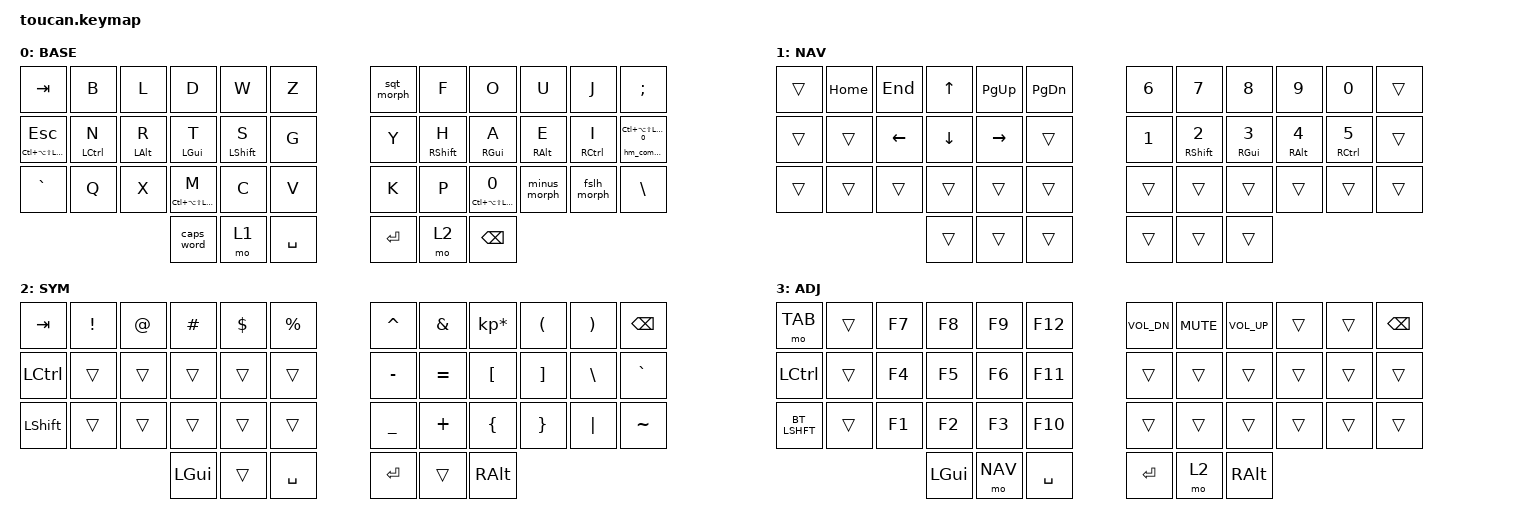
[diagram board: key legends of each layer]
#include <behaviors.dtsi>
#include <dt-bindings/zmk/keys.h>
#include <dt-bindings/zmk/bt.h>
#include <dt-bindings/zmk/outputs.h>

#define BASE 0
#define NAV  1
#define SYM  2
#define ADJ  3
#define HYPER LC(LA(LS(LGUI)))
#define MEH LC(LA(LS(LALT)))

// Physical key positions mapped for positional hold-tap triggers
#define KEYS_L 0 1 2 3 4 5 12 13 14 15 16 17 24 25 26 27 28 29
#define KEYS_R 6 7 8 9 10 11 18 19 20 21 22 23 30 31 32 33 34 35
#define THUMBS 36 37 38 39 40 41

// Shared core configuration for all hold-tap modifiers
#define HRM_BASE_CONFIG \
    compatible = "zmk,behavior-hold-tap"; \
    flavor = "balanced"; \
    quick-tap-ms = <150>; \
    hold-trigger-on-release; \
    retro-tap;

// Composite macro for standard 2-argument keypress hold-taps
#define HRM_KP_CONFIG \
    HRM_BASE_CONFIG \
    #binding-cells = <2>; \
    bindings = <&kp>, <&kp>;

// Modifier profiles timing tuning
#define HRM_TIMINGS_SLOW \
    tapping-term-ms = <250>; \
    require-prior-idle-ms = <150>;

#define HRM_TIMINGS_FAST \
    tapping-term-ms = <175>; \
    require-prior-idle-ms = <125>;

/ {
    conditional_layers {
        compatible = "zmk,conditional-layers";
        tri_layer {
            if-layers = <1 2>;
            then-layer = <3>;
        };
    };

    macros {
        macro_comma: macro_comma {
            compatible = "zmk,behavior-macro-one-param";
            #binding-cells = <1>;
            bindings = <&comma_morph>;
        };
        macro_dot: macro_dot {
            compatible = "zmk,behavior-macro-one-param";
            #binding-cells = <1>;
            bindings = <&dot_morph>;
        };
    };

    // ZMK Mod-Morph Behaviors for custom shifted punctuation: https://zmk.dev/docs/behaviors/mod-morph
    behaviors {
        comma_morph: comma_morph {
            compatible = "zmk,behavior-mod-morph";
            #binding-cells = <0>;
            bindings = <&kp COMMA>, <&kp QUESTION>;
            mods = <(MOD_LSFT|MOD_RSFT)>;
        };
        dot_morph: dot_morph {
            compatible = "zmk,behavior-mod-morph";
            #binding-cells = <0>;
            bindings = <&kp DOT>, <&kp GREATER_THAN>;
            mods = <(MOD_LSFT|MOD_RSFT)>;
        };
        minus_morph: minus_morph {
            compatible = "zmk,behavior-mod-morph";
            #binding-cells = <0>;
            bindings = <&kp MINUS>, <&kp DOUBLE_QUOTES>;
            mods = <(MOD_LSFT|MOD_RSFT)>;
        };
        sqt_morph: sqt_morph {
            compatible = "zmk,behavior-mod-morph";
            #binding-cells = <0>;
            bindings = <&kp SQT>, <&kp UNDERSCORE>;
            mods = <(MOD_LSFT|MOD_RSFT)>;
        };
        fslh_morph: fslh_morph {
            compatible = "zmk,behavior-mod-morph";
            #binding-cells = <0>;
            bindings = <&kp FSLH>, <&kp LESS_THAN>;
            mods = <(MOD_LSFT|MOD_RSFT)>;
        };

        // ZMK Hold-Tap Behaviors for Home Row Mods: https://zmk.dev/docs/behaviors/hold-tap
        // Inspired by urob's reference implementation: https://github.com/urob/zmk-config
        hm_l: homerow_mods_left {
            HRM_KP_CONFIG
            HRM_TIMINGS_SLOW
            hold-trigger-key-positions = <KEYS_R THUMBS>;
        };

        hm_r: homerow_mods_right {
            HRM_KP_CONFIG
            HRM_TIMINGS_SLOW
            hold-trigger-key-positions = <KEYS_L THUMBS>;
        };

        hm_fast_l: homerow_mods_fast_left {
            HRM_KP_CONFIG
            HRM_TIMINGS_FAST
            hold-trigger-key-positions = <KEYS_R THUMBS>;
        };

        hm_fast_r: homerow_mods_fast_right {
            HRM_KP_CONFIG
            HRM_TIMINGS_FAST
            hold-trigger-key-positions = <KEYS_L THUMBS>;
        };

        hm_comma_r: hm_comma_r {
            HRM_KP_CONFIG
            HRM_TIMINGS_SLOW
            bindings = <&kp>, <&macro_comma>;
            hold-trigger-key-positions = <KEYS_L THUMBS>;
        };

        hm_dot_r: hm_dot_r {
            HRM_KP_CONFIG
            HRM_TIMINGS_SLOW
            bindings = <&kp>, <&macro_dot>;
            hold-trigger-key-positions = <KEYS_L THUMBS>;
        };
    };

    keymap {
        compatible = "zmk,keymap";

        base {
            display-name = "BASE";
            bindings = <
                &kp TAB   &kp B          &kp L          &kp D          &kp W          &kp Z       &sqt_morph &kp F          &kp O          &kp U          &kp J          &kp SEMI
                &hm_l HYPER ESC &hm_l LCTRL N  &hm_l LALT R   &hm_l LGUI T   &hm_fast_l LSHFT S &kp G  &kp Y      &hm_fast_r RSHFT H &hm_r RGUI A &hm_r RALT E &hm_r RCTRL I &hm_comma_r HYPER 0
                &kp GRAVE &kp Q          &kp X          &hm_l MEH M    &kp C          &kp V       &kp K      &kp P          &hm_dot_r MEH 0 &minus_morph   &fslh_morph    &kp BSLH
                                                        &caps_word     &mo 1          &kp SPACE   &kp RET    &mo 2          &kp BSPC
            >;
        };

        nav {
            display-name = "NAV";
            bindings = <
                &trans    &kp HOME       &kp END        &kp UP         &kp PG_UP      &kp PG_DN      &kp N6        &kp N7        &kp N8       &kp N9       &kp N0       &trans
                &trans    &trans         &kp LEFT       &kp DOWN       &kp RIGHT      &trans         &kp N1        &hm_fast_r RSHFT N2  &hm_r RGUI N3 &hm_r RALT N4 &hm_r RCTRL N5 &trans
                &trans    &trans         &trans         &trans         &trans         &trans         &trans        &trans        &trans       &trans       &trans       &trans
                                                        &trans         &trans         &trans         &trans        &trans        &trans
            >;
        };

        sym {
            display-name = "SYM";
            bindings = <
                &kp TAB   &kp EXCL &kp AT &kp HASH &kp DLLR &kp PRCNT   &kp CARET &kp AMPS  &kp KP_MULTIPLY &kp LPAR &kp RPAR &kp BSPC
                &kp LCTRL &trans   &trans &trans   &trans   &trans      &kp MINUS &kp EQUAL &kp LBKT        &kp RBKT &kp BSLH &kp GRAVE
                &kp LSHFT &trans   &trans &trans   &trans   &trans      &kp UNDER &kp PLUS  &kp LBRC        &kp RBRC &kp PIPE &kp TILDE
                                          &kp LGUI &trans   &kp SPACE   &kp RET   &trans    &kp RALT
            >;
        };

        adj {
            display-name = "ADJ";
            bindings = <
                &mo TAB   &trans &kp F7 &kp F8 &kp F9 &kp F12   &kp C_VOL_DN &kp C_MUTE  &kp C_VOL_UP &trans &trans &kp BSPC
                &kp LCTRL &trans &kp F4 &kp F5 &kp F6 &kp F11   &trans       &trans      &trans       &trans &trans &trans
                &bt LSHFT &trans &kp F1 &kp F2 &kp F3 &kp F10   &trans       &trans      &trans       &trans &trans &trans
                                   &kp LGUI &mo NAV &kp SPACE   &kp RET &mo 2 &kp RALT
            >;
        };
        extra_1 {
                status = "reserved";
        };

        extra_2 {
                status = "reserved";
        };

        extra_3 {
                status = "reserved";
        };
    };
};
